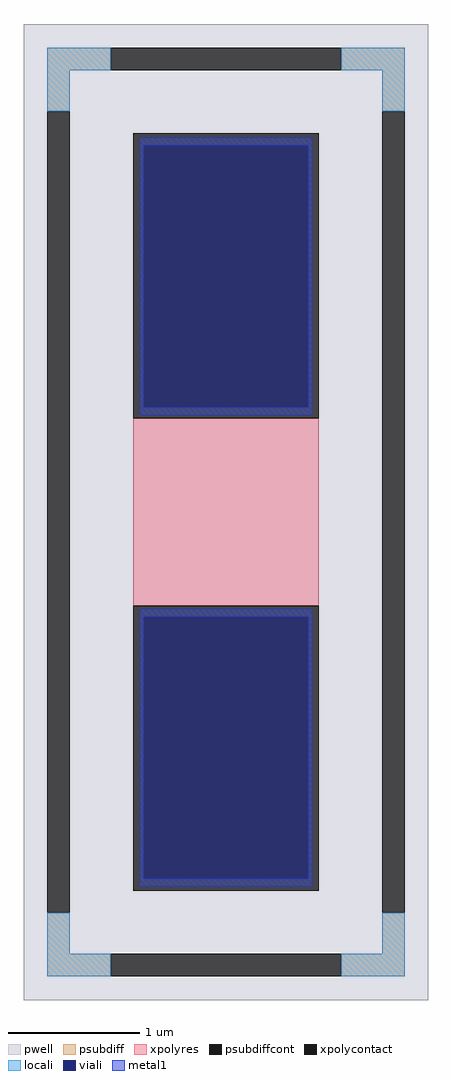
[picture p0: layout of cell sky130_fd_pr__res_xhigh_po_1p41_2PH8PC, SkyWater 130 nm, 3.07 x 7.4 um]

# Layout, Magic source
magic
tech sky130A
magscale 1 2
<< pwell >>
rect -307 -740 307 740
<< psubdiff >>
rect -271 670 -175 704
rect 175 670 271 704
rect -271 608 -237 670
rect 237 608 271 670
rect -271 -670 -237 -608
rect 237 -670 271 -608
rect -271 -704 -175 -670
rect 175 -704 271 -670
<< psubdiffcont >>
rect -175 670 175 704
rect -271 -608 -237 608
rect 237 -608 271 608
rect -175 -704 175 -670
<< xpolycontact >>
rect -141 142 141 574
rect -141 -574 141 -142
<< xpolyres >>
rect -141 -142 141 142
<< locali >>
rect -271 670 -175 704
rect 175 670 271 704
rect -271 608 -237 670
rect 237 608 271 670
rect -271 -670 -237 -608
rect 237 -670 271 -608
rect -271 -704 -175 -670
rect 175 -704 271 -670
<< viali >>
rect -125 159 125 556
rect -125 -556 125 -159
<< metal1 >>
rect -131 556 131 568
rect -131 159 -125 556
rect 125 159 131 556
rect -131 147 131 159
rect -131 -159 131 -147
rect -131 -556 -125 -159
rect 125 -556 131 -159
rect -131 -568 131 -556
<< properties >>
string FIXED_BBOX -254 -687 254 687
string gencell sky130_fd_pr__res_xhigh_po_1p41
string library sky130
string parameters w 1.410 l 1.579 m 1 nx 1 wmin 1.410 lmin 0.50 rho 2000 val 2.506k dummy 0 dw 0.0 term 188.2 sterm 0.0 caplen 0 wmax 1.410 guard 1 glc 1 grc 1 gtc 1 gbc 1 compatible {sky130_fd_pr__res_xhigh_po_0p35  sky130_fd_pr__res_xhigh_po_0p69 sky130_fd_pr__res_xhigh_po_1p41  sky130_fd_pr__res_xhigh_po_2p85 sky130_fd_pr__res_xhigh_po_5p73} snake 0 full_metal 1 n_guard 0 hv_guard 0 vias 1 viagb 0 viagt 0 viagl 0 viagr 0
<< end >>
